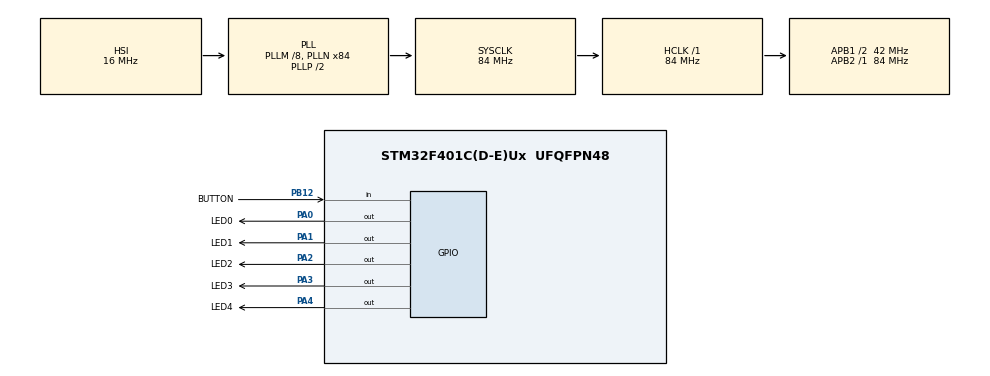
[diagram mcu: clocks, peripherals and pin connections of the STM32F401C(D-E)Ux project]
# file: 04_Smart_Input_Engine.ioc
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Mcu.Family=STM32F4
Mcu.Name=STM32F401C(D-E)Ux
Mcu.Package=UFQFPN48
NVIC.PriorityGroup=NVIC_PRIORITYGROUP_4
PA0-WKUP.GPIO_Label=LED0
PA0-WKUP.Signal=GPIO_Output
PA1.GPIO_Label=LED1
PA1.Signal=GPIO_Output
PA13.Mode=Serial_Wire
PA13.Signal=SYS_JTMS-SWDIO
PA14.Mode=Serial_Wire
PA14.Signal=SYS_JTCK-SWCLK
PA2.GPIO_Label=LED2
PA2.Signal=GPIO_Output
PA3.GPIO_Label=LED3
PA3.Signal=GPIO_Output
PA4.GPIO_Label=LED4
PA4.Signal=GPIO_Output
PB12.GPIO_Label=BUTTON
PB12.GPIO_PuPd=GPIO_PULLUP
PB12.Signal=GPIO_Input
PH0\ -\ OSC_IN.Mode=HSE-External-Oscillator
PH0\ -\ OSC_IN.Signal=RCC_OSC_IN
PH1\ -\ OSC_OUT.Mode=HSE-External-Oscillator
PH1\ -\ OSC_OUT.Signal=RCC_OSC_OUT
ProjectManager.HeapSize=0x200
ProjectManager.StackSize=0x400
ProjectManager.TargetToolchain=Makefile
RCC.48MHZClocksFreq_Value=42000000
RCC.AHBFreq_Value=84000000
RCC.APB1CLKDivider=RCC_HCLK_DIV2
RCC.APB1Freq_Value=42000000
RCC.APB1TimFreq_Value=84000000
RCC.APB2Freq_Value=84000000
RCC.APB2TimFreq_Value=84000000
RCC.CortexFreq_Value=84000000
RCC.HCLKFreq_Value=84000000
RCC.HSE_VALUE=25000000
RCC.HSI_VALUE=16000000
RCC.LSE_VALUE=32768
RCC.PLLM=8
RCC.PLLN=84
RCC.SYSCLKFreq_VALUE=84000000
RCC.SYSCLKSource=RCC_SYSCLKSOURCE_PLLCLK
RCC.VCOOutputFreq_Value=168000000
board=custom

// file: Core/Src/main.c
/* USER CODE BEGIN Header */
/**
  ******************************************************************************
  * @file           : main.c
  * @brief          : Main program body
  ******************************************************************************
  * @attention
  *
  * Copyright (c) 2026 STMicroelectronics.
  * All rights reserved.
  *
  * This software is licensed under terms that can be found in the LICENSE file
  * in the root directory of this software component.
  * If no LICENSE file comes with this software, it is provided AS-IS.
  *
  ******************************************************************************
  */
/* USER CODE END Header */
#include "main.h"
#include "gpio.h"

/* USER CODE BEGIN PV */
uint16_t ledPins[] = {LED0_Pin, LED1_Pin, LED2_Pin, LED3_Pin, LED4_Pin};
#define LED_COUNT 5
#define led_delay 20

// LED Modları
enum LED_MODE {
      ALL_OFF = 0,
      ALL_ON,
      ALL_TOGGLE,
      KNIGHT_RIDER,
      RANDOM
};
enum LED_MODE currentMode = ALL_ON;

// Buton Durum Makinesi (FSM)
typedef enum {
    BTN_IDLE = 0,
    BTN_DEBOUNCE,
    BTN_PRESSED,
    BTN_WAIT_RELEASE
} ButtonState_t;

ButtonState_t btnState = BTN_IDLE; // Butonun başlangıç durumu
uint32_t btnTick = 0;              // Zaman ölçümleri için ana kronometre
const uint32_t debounceDelay = 50; // 50ms parazit filtresi
const uint32_t longPressTime = 3000; // 3000ms (3 saniye) uzun basış sınırı

// Animasyon Zamanlama Değişkenleri
uint32_t lastAnimTick = 0; // Animasyonun son adım zamanı
int animStep = 0;          // Animasyon adımı
int animDir = 1;           // Animasyon yönü (1 ileri, -1 geri)

/* USER CODE END PV */

void SystemClock_Config(void);

/* USER CODE BEGIN 0 */

// Tüm LED'leri kapatan temel yardımcı fonksiyon
void all_leds_off(void){
  for(int i= 0; i < LED_COUNT; i++){
    HAL_GPIO_WritePin(GPIOA, ledPins[i], GPIO_PIN_RESET);
  }
}

// Tüm LED'leri açan temel yardımcı fonksiyon
void all_leds_on(void){
  for(int i= 0; i < LED_COUNT; i++){
    HAL_GPIO_WritePin(GPIOA, ledPins[i], GPIO_PIN_SET);
  }
}

// ALL LEDS TOGGLE FUNC.
void all_leds_toggle(void){
  for(int i= 0; i < LED_COUNT; i++){
    HAL_GPIO_TogglePin(GPIOA, ledPins[i]);
  }
  HAL_Delay(200);
}

// KNIGHT RIDER FUNC.
void leds_on_by_order(void){
  for (int i = 0; i < LED_COUNT; i++){
    HAL_GPIO_WritePin(GPIOA, ledPins[i], GPIO_PIN_SET);
    HAL_Delay(led_delay);
    HAL_GPIO_WritePin(GPIOA, ledPins[i], GPIO_PIN_RESET);
    HAL_Delay(led_delay);
  }

  for (int i = LED_COUNT-1; i > 0 ; i--){
    HAL_GPIO_WritePin(GPIOA, ledPins[i], GPIO_PIN_SET);
    HAL_Delay(led_delay);
    HAL_GPIO_WritePin(GPIOA, ledPins[i], GPIO_PIN_RESET);
    HAL_Delay(led_delay);
  }
}

void leds_random_on(void){

  int i = rand() % 5;

  HAL_GPIO_WritePin(GPIOA, ledPins[i], GPIO_PIN_SET);
  HAL_Delay(led_delay);
  HAL_GPIO_WritePin(GPIOA, ledPins[i], GPIO_PIN_RESET);
  HAL_Delay(led_delay);

}

/* USER CODE END 0 */

int main(void)
{

  /* MCU Configuration--------------------------------------------------------*/

  /* Reset of all peripherals, Initializes the Flash interface and the Systick. */
  HAL_Init();

  /* Configure the system clock */
  SystemClock_Config();

  /* Initialize all configured peripherals */
  MX_GPIO_Init();

 /* Infinite loop */
  /* USER CODE BEGIN WHILE */
  while (1)
  {
      uint32_t currentTick = HAL_GetTick();
      GPIO_PinState pinState = HAL_GPIO_ReadPin(BUTTON_GPIO_Port, BUTTON_Pin);

      //  BUTON (FSM)
      switch(btnState)
      {
          case BTN_IDLE:
              if (pinState == GPIO_PIN_RESET) {
                  btnTick = currentTick;
                  btnState = BTN_DEBOUNCE;
              }
              break;

          case BTN_DEBOUNCE:
              if (currentTick - btnTick >= debounceDelay) {
                  if (pinState == GPIO_PIN_RESET) {
                      btnTick = currentTick; // Uzun basış sayacı başlasın
                      btnState = BTN_PRESSED;
                  } else btnState = BTN_IDLE;
              }
              break;

          case BTN_PRESSED:
              if (pinState == GPIO_PIN_SET) { // KISA BASIŞ ONAYLANDI
                  currentMode = (currentMode + 1) % 5; // Modu ilerlet
                  all_leds_off();
                  animStep = 0;
                  btnState = BTN_IDLE;
              }
              else if (currentTick - btnTick >= longPressTime) { // UZUN BASIŞ
                  currentMode = ALL_OFF;
                  all_leds_off();
                  btnState = BTN_WAIT_RELEASE;
              }
              break;

          case BTN_WAIT_RELEASE:
              if (pinState == GPIO_PIN_SET) btnState = BTN_IDLE;
              break;
      }

      // ANIMASYON (FSM)
      switch(currentMode)
      {
          case ALL_ON:
              all_leds_on();
              break;

          case ALL_TOGGLE:
              // HAL_Delay(200) yerine "Zamanı geldi mi?" sorgusu
              if (currentTick - lastAnimTick >= 200) {
                  for(int i=0; i<LED_COUNT; i++) HAL_GPIO_TogglePin(GPIOA, ledPins[i]);
                  lastAnimTick = currentTick;
              }
              break;

          case KNIGHT_RIDER:
              // Kara Şimşek animasyonu her 100ms'de sadece 1 adım ilerler
              if (currentTick - lastAnimTick >= 100) {
                  all_leds_off();
                  HAL_GPIO_WritePin(GPIOA, ledPins[animStep], GPIO_PIN_SET);

                  animStep += animDir;
                  // Kenarlara ulaşınca yön değiştir
                  if (animStep >= LED_COUNT - 1 || animStep <= 0) animDir *= -1;

                  lastAnimTick = currentTick;
              }
              break;

          case RANDOM:
              if (currentTick - lastAnimTick >= 150) {
                  all_leds_off();
                  HAL_GPIO_WritePin(GPIOA, ledPins[rand() % 5], GPIO_PIN_SET);
                  lastAnimTick = currentTick;
              }
              break;

          default:
              all_leds_off();
              break;
      }

      /* USER CODE END WHILE */

      /* USER CODE BEGIN 3 */
  } // While(1) döngüsünün asıl kapanış parantezi bu!
  /* USER CODE END 3 */

}
void SystemClock_Config(void)
{
  RCC_OscInitTypeDef RCC_OscInitStruct = {0};
  RCC_ClkInitTypeDef RCC_ClkInitStruct = {0};

  /** Configure the main internal regulator output voltage
  */
  __HAL_RCC_PWR_CLK_ENABLE();
  __HAL_PWR_VOLTAGESCALING_CONFIG(PWR_REGULATOR_VOLTAGE_SCALE2);

  /** Initializes the RCC Oscillators according to the specified parameters
  * in the RCC_OscInitTypeDef structure.
  */
  RCC_OscInitStruct.OscillatorType = RCC_OSCILLATORTYPE_HSI;
  RCC_OscInitStruct.HSIState = RCC_HSI_ON;
  RCC_OscInitStruct.HSICalibrationValue = RCC_HSICALIBRATION_DEFAULT;
  RCC_OscInitStruct.PLL.PLLState = RCC_PLL_ON;
  RCC_OscInitStruct.PLL.PLLSource = RCC_PLLSOURCE_HSI;
  RCC_OscInitStruct.PLL.PLLM = 8;
  RCC_OscInitStruct.PLL.PLLN = 84;
  RCC_OscInitStruct.PLL.PLLP = RCC_PLLP_DIV2;
  RCC_OscInitStruct.PLL.PLLQ = 4;
  if (HAL_RCC_OscConfig(&RCC_OscInitStruct) != HAL_OK)
  {
    Error_Handler();
  }

  /** Initializes the CPU, AHB and APB buses clocks
  */
  RCC_ClkInitStruct.ClockType = RCC_CLOCKTYPE_HCLK|RCC_CLOCKTYPE_SYSCLK
                              |RCC_CLOCKTYPE_PCLK1|RCC_CLOCKTYPE_PCLK2;
  RCC_ClkInitStruct.SYSCLKSource = RCC_SYSCLKSOURCE_PLLCLK;
  RCC_ClkInitStruct.AHBCLKDivider = RCC_SYSCLK_DIV1;
  RCC_ClkInitStruct.APB1CLKDivider = RCC_HCLK_DIV2;
  RCC_ClkInitStruct.APB2CLKDivider = RCC_HCLK_DIV1;

  if (HAL_RCC_ClockConfig(&RCC_ClkInitStruct, FLASH_LATENCY_2) != HAL_OK)
  {
    Error_Handler();
  }
}

void Error_Handler(void)
{
  __disable_irq();
  while (1)
  {
  }
}
